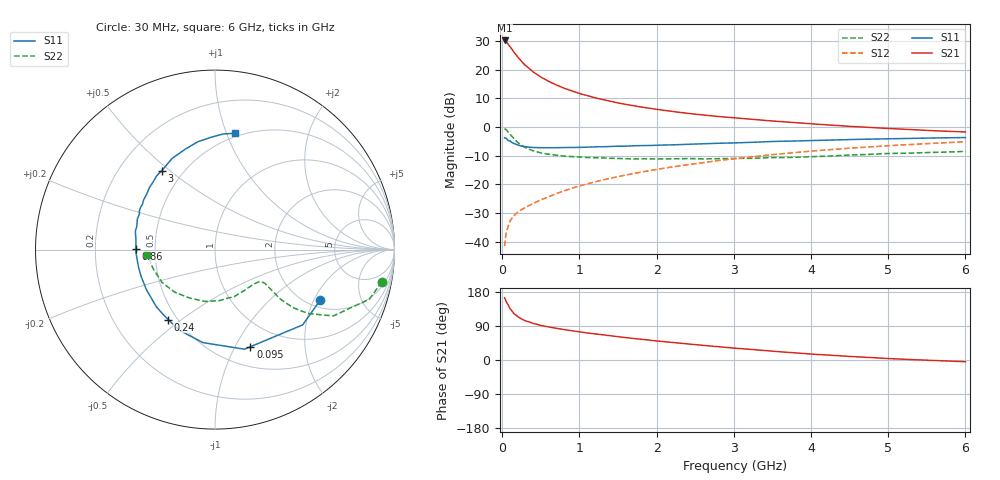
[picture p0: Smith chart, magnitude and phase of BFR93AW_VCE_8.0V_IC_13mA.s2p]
! Infineon Technologies  Discrete & RF Semiconductors
! BFR93AW
! VCE =  8.0 V,  IC =  13 mA
! Common Emitter S-Parameters:  Nov 2015
# GHz  S  MA  R  50
!  f  S11  S21  S12  S22
! GHz  MAG  ANG  MAG  ANG  MAG  ANG  MAG  ANG
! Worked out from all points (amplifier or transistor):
!   206 points, 30 MHz to 6 GHz, reference 50 ohm
!   highest |S21| = 30.2 dB at 30 MHz (marker M1)
!   |S21| within 3 dB of that: start of sweep to 123.4 MHz
!   unconditionally stable (mu >= 1): 674.6 MHz to 2.192 GHz
!   at 200 MHz: K = 0.56, MSG = 27.1 dB, |S12| = -29.7 dB
!   at 1.56 GHz: K = 1.05, MAG = 11.1 dB, |S12| = -16.9 dB
!   at 6 GHz: K = 0.88, MSG = 1.7 dB, |S12| = -5.1 dB
!   S11 on the Smith chart (normalised r, x): 30 MHz: 2.32, -2.25; 95 MHz: 0.71, -1.15; 240 MHz: 0.45, -0.45; 860 MHz: 0.39, +0.00; 3 GHz: 0.38, +0.47; 6 GHz: 0.47, +1.07
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0.03  0.6508 -25.5  32.42 164.3  0.0084 79.7  0.9465 -10.9
0.05  0.6438 -40.7  31.14 154.1  0.014 74.5  0.9032 -17.8
0.095  0.5761 -70.0  25.92 137.5  0.0222 62.5  0.7686 -28.0
0.1  0.5788 -73.5  25.5 135.3  0.0232 61.7  0.7554 -29.3
0.15  0.5227 -97.4  20.35 122.6  0.0286 57.2  0.6279 -34.5
0.2  0.4915 -113.6  16.64 114.2  0.0328 55.3  0.5408 -36.7
0.24  0.4693 -123.7  14.41 109.4  0.0358 56.1  0.4911 -37.0
0.26  0.4632 -128.2  13.47 107.2  0.0372 56.5  0.4708 -37.1
0.3  0.4563 -135.8  11.88 103.4  0.0399 57.2  0.4391 -36.9
0.4  0.4425 -149.8  9.161 96.5  0.0466 58.9  0.3855 -35.5
0.5  0.4379 -159.6  7.462 91.2  0.054 61.5  0.3535 -34.6
0.6  0.4373 -166.5  6.275 87.1  0.0611 63.4  0.3357 -34.1
0.7  0.4374 -172.7  5.432 83.5  0.0693 65.1  0.3236 -34.3
0.86  0.4412 179.5  4.469 78.4  0.0824 66.8  0.3085 -35.6
1.04  0.4448 172.3  3.725 73.1  0.0976 67.9  0.2985 -37.7
1.5  0.4651 158.4  2.639 61.5  0.1369 68.5  0.2848 -46.5
2.02  0.4849 144.9  2.023 49.9  0.1845 66.7  0.2799 -59.2
3  0.5298 124.2  1.447 31.4  0.28 60.3  0.2853 -84.5
3.1  0.535 122.3  1.411 29.9  0.2902 59.3  0.2852 -87.8
4.1  0.5875 105.0  1.119 14.5  0.3905 49.5  0.3076 -121.4
5.1  0.6289 91.0  0.933 3.0  0.4825 38.4  0.3481 -151.2
6  0.6577 80.2  0.823 -4.6  0.5555 28.4  0.3781 -175.6
